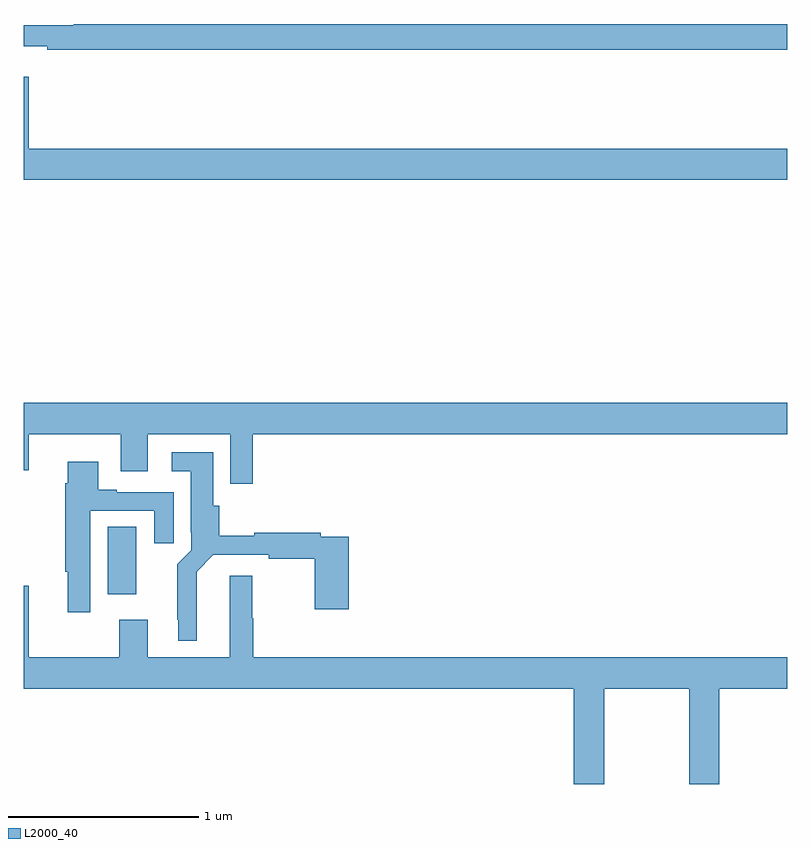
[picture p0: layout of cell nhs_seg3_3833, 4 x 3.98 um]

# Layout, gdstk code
import gdstk
lib = gdstk.Library(unit=1e-6, precision=1e-09)
def R(c, l, rs):  # rectangles x0, y0, x1, y1
    for r in rs: c.add(gdstk.rectangle(r[:2], r[2:], *l))
def P(c, l, *ps):  # polygons
    for p in ps: c.add(gdstk.Polygon(p, *l))
L2000_40 = (2000, 40)

nhs_seg3_3833 = lib.new_cell('nhs_seg3_3833')
R(nhs_seg3_3833, L2000_40, [(309.44,717.393,309.589,717.746)])
P(nhs_seg3_3833, L2000_40, [(313,720.38),(309.262,720.38),(309.262,720.373),(309,720.373),(309,720.263),(309.124,720.263),(309.124,720.244),(313,720.244)],
  [(313,719.728),(309.028,719.728),(309.028,720.103),(309,720.103),(309,719.564),(313,719.564)],
  [(310.199,718.232),(313,718.232),(313,718.396),(309,718.396),(309,718.044),(309.028,718.044),(309.028,718.232),(309.509,718.232),(309.509,718.038),(309.649,718.038),(309.649,718.232),(310.083,718.232),(310.083,717.972),(310.199,717.972)],
  [(309.907,717.512),(309.994,717.6),(310.285,717.6),(310.285,717.58),(310.525,717.58),(310.525,717.315),(310.703,717.315),(310.703,717.696),(310.556,717.696),(310.556,717.716),(310.208,717.716),(310.208,717.701),(310.025,717.701),(310.025,717.858),(309.994,717.858),(309.994,718.138),(309.777,718.138),(309.777,718.037),(309.875,718.037),(309.875,717.718),(309.879,717.718),(309.879,717.624),(309.805,717.55),(309.805,717.259),(309.809,717.259),(309.809,717.149),(309.907,717.149)],
  [(309.349,717.831),(309.683,717.831),(309.683,717.66),(309.787,717.66),(309.787,717.927),(309.487,717.927),(309.487,717.94),(309.391,717.94),(309.391,718.087),(309.23,718.087),(309.23,717.974),(309.218,717.974),(309.218,717.512),(309.23,717.512),(309.23,717.3),(309.349,717.3)],
  [(310.202,717.269),(310.197,717.269),(310.197,717.49),(310.079,717.49),(310.079,717.064),(309.649,717.064),(309.649,717.259),(309.502,717.259),(309.502,717.064),(309.028,717.064),(309.028,717.439),(309,717.439),(309,716.9),(311.882,716.9),(311.882,716.4),(312.042,716.4),(312.042,716.9),(312.487,716.9),(312.487,716.4),(312.642,716.4),(312.642,716.9),(313,716.9),(313,717.064),(310.202,717.064)])

lib.write_gds('nhs_seg3_3833.gds')
